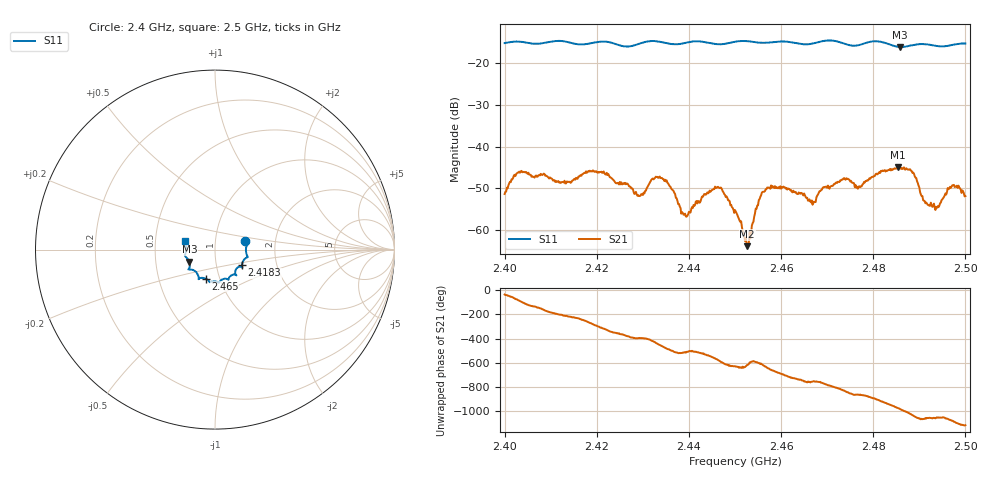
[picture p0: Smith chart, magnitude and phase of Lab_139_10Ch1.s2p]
# Hz S RI R 50
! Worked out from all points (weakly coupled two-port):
!   601 points, 2.4 GHz to 2.5 GHz, reference 50 ohm
!   highest |S21| = -44.92 dB at 2.4853 GHz (marker M1); lowest = -63.9 dB at 2.4527 GHz (marker M2)
!   lowest |S11| = -16.1 dB at 2.4858 GHz (marker M3), VSWR 1.37, Z = 37.2 - j5.13 ohm
!   |S11| at or under -10 dB: start of sweep to end of sweep
!   S12 and S22 are empty: the file has one direction only
!   S11 on the Smith chart (normalised r, x): 2.4 GHz: 1.40, +0.13; 2.4183 GHz: 1.33, -0.24; 2.465 GHz: 0.86, -0.29; 2.5 GHz: 0.71, +0.07
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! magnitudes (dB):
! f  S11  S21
! 2.4 GHz  -15.1  -51.4
! 2.4032 GHz  -14.7  -46.0
! 2.4167 GHz  -15.4  -47.0
! 2.4183 GHz  -15.2  -46.0
! 2.4292 GHz  -15.3  -51.8
! 2.4333 GHz  -14.7  -47.5
! 2.4392 GHz  -15.1  -56.1
! 2.4462 GHz  -15.4  -49.7
! 2.45 GHz  -14.8  -55.2
! 2.4527 GHz  -14.7  -63.9
! 2.4565 GHz  -15.0  -50.7
! 2.465 GHz  -15.4  -51.2
! 2.4667 GHz  -15.3  -52.9
! 2.4733 GHz  -15.1  -47.9
! 2.4833 GHz  -15.3  -45.5
! 2.4853 GHz  -16.0  -44.9
! 2.4858 GHz  -16.1  -45.0
! 2.4885 GHz  -15.6  -46.3
! 2.4918 GHz  -15.4  -54.0
! 2.4938 GHz  -15.8  -54.7
! 2.4972 GHz  -15.5  -49.3
! 2.5 GHz  -15.2  -51.9
